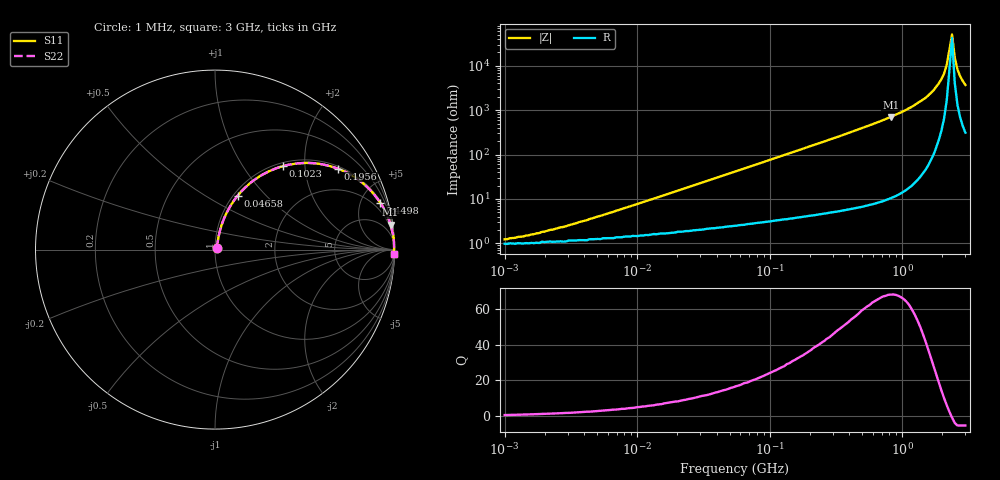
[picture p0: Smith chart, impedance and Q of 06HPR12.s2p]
# MHz S MA R 50
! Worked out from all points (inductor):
!   174 points, 1 MHz to 3 GHz, reference 50 ohm
!   read as one part in series: L = 120 nH near 5.052 MHz
!   highest Q = 67.8 at 821 MHz (marker M1), where L = 137 nH
!   self-resonance near 2.273 GHz
!   S11 on the Smith chart (normalised r, x): 1 MHz: 1.02, +0.01; 46.58 MHz: 1.05, +0.70; 102.3 MHz: 1.06, +1.55; 195.6 MHz: 1.08, +2.97; 449.8 MHz: 1.14, +7.04; 3 GHz: 8, -72
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1  0.012 37.7  0.99 -0.4  0.99 -0.4  0.012 37.7
2.002  0.018 54.1  0.989 -0.9  0.989 -0.9  0.018 54.1
3.827  0.031 66.0  0.988 -1.6  0.988 -1.6  0.031 66.0
14.647  0.109 75.4  0.978 -6.2  0.978 -6.2  0.109 75.4
46.582  0.325 67.2  0.924 -18.9  0.924 -18.9  0.325 67.2
56.054  0.382 64.2  0.902 -22.4  0.902 -22.4  0.382 64.2
102.305  0.6 50.8  0.776 -36.8  0.776 -36.8  0.6 50.8
195.561  0.819 33.5  0.551 -55.0  0.551 -55.0  0.819 33.5
214.526  0.843 31.1  0.517 -57.4  0.517 -57.4  0.843 31.1
449.846  0.957 15.8  0.272 -73.2  0.272 -73.2  0.957 15.8
821.013  0.988 8.1  0.14 -81.1  0.14 -81.1  0.988 8.1
1188.891  0.995 4.7  0.083 -84.3  0.083 -84.3  0.995 4.7
1498.431  0.997 3.0  0.053 -85.6  0.053 -85.6  0.997 3.0
1721.606  0.998 2.1  0.036 -85.9  0.036 -85.9  0.998 2.1
1888.563  0.998 1.4  0.025 -85.5  0.025 -85.5  0.998 1.4
2071.713  0.998 0.8  0.015 -83.6  0.015 -83.6  0.998 0.8
2169.844  0.998 0.5  0.009439 -80.4  0.009439 -80.4  0.998 0.5
2380.271  0.998 -0.1  0.001975 33.2  0.001975 33.2  0.998 -0.1
2493.018  0.998 -0.4  0.00652 74.0  0.00652 74.0  0.998 -0.4
2611.105  0.998 -0.7  0.012 80.1  0.012 80.1  0.998 -0.7
2734.786  0.998 -1.0  0.017 82.2  0.017 82.2  0.998 -1.0
3000  0.997 -1.6  0.027 83.6  0.027 83.6  0.997 -1.6
